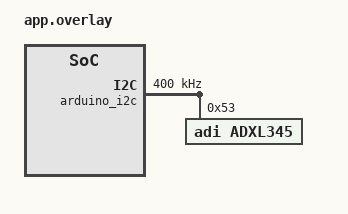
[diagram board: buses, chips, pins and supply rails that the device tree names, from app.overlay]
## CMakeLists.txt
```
cmake_minimum_required(VERSION 3.20.0)
find_package(Zephyr REQUIRED HINTS $ENV{ZEPHYR_BASE})
project(adxl345_vibration)

target_sources(app PRIVATE src/main.c)
```

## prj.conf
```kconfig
# I2C 및 센서 드라이버
CONFIG_I2C=y
CONFIG_SENSOR=y
CONFIG_ADXL345=y

# 부동소수점
CONFIG_FPU=y
CONFIG_FPU_SHARING=y

# 로깅
CONFIG_LOG=y
CONFIG_LOG_DEFAULT_LEVEL=3

# 시리얼 출력
CONFIG_UART_CONSOLE=y
CONFIG_SERIAL=y
```

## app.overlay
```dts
&arduino_i2c {
    status = "okay";
    clock-frequency = <I2C_BITRATE_FAST>;

    adxl345@53 {
        compatible = "adi,adxl345";
        reg = <0x53>;
    };
};
```

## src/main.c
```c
#include <zephyr/kernel.h>
#include <zephyr/device.h>
#include <zephyr/drivers/sensor.h>
#include <zephyr/logging/log.h>
#include <math.h>

LOG_MODULE_REGISTER(vibration, LOG_LEVEL_INF);

/* 튜닝 파라미터 */
#define SAMPLE_COUNT   20       /* 샘플 몇 개 모아서 판단 */
#define SAMPLE_MS      50       /* 샘플링 간격 (50ms = 초당 20회) */
#define THRESHOLD      0.3f     /* RMS 임계값 — 실제 값 보고 조정 */

static const struct device *dev;

static float read_magnitude(void)
{
    struct sensor_value x, y, z;

    sensor_sample_fetch(dev);
    sensor_channel_get(dev, SENSOR_CHAN_ACCEL_X, &x);
    sensor_channel_get(dev, SENSOR_CHAN_ACCEL_Y, &y);
    sensor_channel_get(dev, SENSOR_CHAN_ACCEL_Z, &z);

    float fx = sensor_value_to_double(&x);
    float fy = sensor_value_to_double(&y);
    float fz = sensor_value_to_double(&z);

    return sqrtf(fx*fx + fy*fy + fz*fz);
}

static float calc_rms(float *samples, int count)
{
    float mean = 0.0f;
    float sum  = 0.0f;

    /* 평균 제거 후 RMS → 중력 성분 제거, 진동 성분만 추출 */
    for (int i = 0; i < count; i++) {
        mean += samples[i];
    }
    mean /= count;

    for (int i = 0; i < count; i++) {
        float diff = samples[i] - mean;
        sum += diff * diff;
    }

    return sqrtf(sum / count);
}

int main(void)
{
    dev = DEVICE_DT_GET_ANY(adi_adxl345);

    if (!device_is_ready(dev)) {
        LOG_ERR("ADXL345 준비 안됨! 연결 확인하세요.");
        return -1;
    }

    LOG_INF("ADXL345 초기화 완료. 진동 감지 시작...");

    float    samples[SAMPLE_COUNT];
    bool     is_running = false;
    uint32_t run_start  = 0;

    while (1) {
        /* 샘플 수집 */
        for (int i = 0; i < SAMPLE_COUNT; i++) {
            samples[i] = read_magnitude();
            k_sleep(K_MSEC(SAMPLE_MS));
        }

        float rms = calc_rms(samples, SAMPLE_COUNT);

        /* RMS 값 항상 출력 — 처음엔 이 값으로 THRESHOLD 튜닝 */
        LOG_INF("RMS: %d.%03d m/s²",
                (int)rms,
                (int)((rms - (int)rms) * 1000));

        bool current = (rms > THRESHOLD);

        /* 상태 변화 시에만 출력 */
        if (current != is_running) {
            is_running = current;

            if (is_running) {
                run_start = k_uptime_get_32();
                LOG_INF(">>> 세탁기 동작 시작!");
            } else {
                uint32_t elapsed = (k_uptime_get_32() - run_start) / 1000;
                LOG_INF(">>> 세탁기 정지. 동작 시간: %d분 %d초",
                        elapsed / 60, elapsed % 60);
            }
        }
    }

    return 0;
}
```
